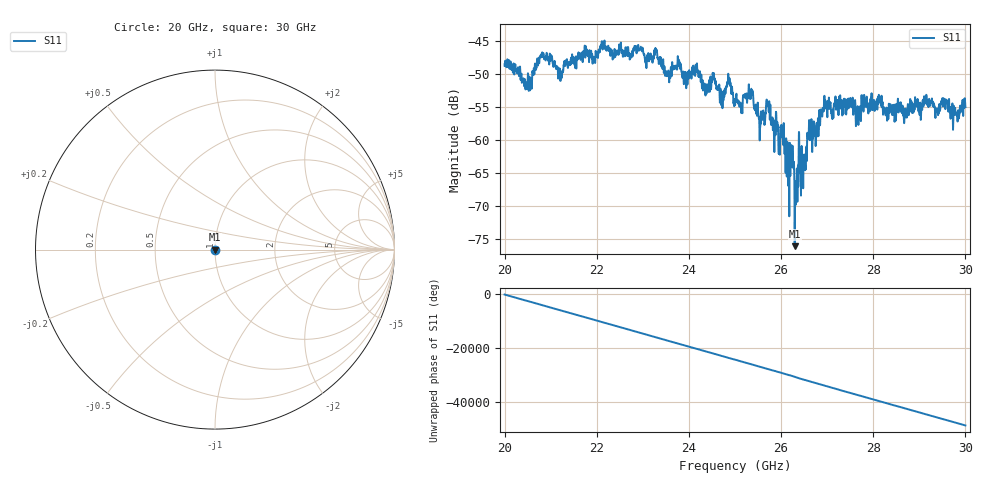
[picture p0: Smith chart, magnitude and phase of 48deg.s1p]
#  HZ  S  RI  R  50.00
! Rohde & Schwarz ZVA40 4Ports - Version 3.90 - 1145.1110k42 SN: 100403
! Date: 2023-10-03 11:57:43
! Measurement: S12
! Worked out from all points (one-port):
!   5001 points, 20 GHz to 30 GHz, reference 50 ohm
!   lowest |S11| = -76.1 dB at 26.3 GHz (marker M1), VSWR 1.00, Z = 50 - j0.0156 ohm
!   |S11| at or under -10 dB: start of sweep to end of sweep
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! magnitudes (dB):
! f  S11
! 20 GHz  -48.7
! 20.48 GHz  -52.0
! 20.81 GHz  -47.0
! 21.25 GHz  -49.9
! 22.12 GHz  -46.2
! 22.5 GHz  -45.7
! 23.29 GHz  -46.3
! 23.55 GHz  -49.6
! 23.75 GHz  -48.7
! 23.93 GHz  -49.8
! 24.19 GHz  -49.4
! 24.35 GHz  -52.1
! 24.54 GHz  -50.0
! 24.72 GHz  -52.8
! 24.86 GHz  -50.7
! 25 GHz  -54.6
! 25.34 GHz  -53.8
! 25.56 GHz  -57.5
! 25.72 GHz  -54.7
! 26.25 GHz  -61.3
! 26.3 GHz  -76.1
! 26.51 GHz  -62.6
! 26.61 GHz  -57.6
! 26.77 GHz  -57.7
! 26.95 GHz  -54.5
! 27.5 GHz  -53.7
! 28.75 GHz  -54.6
! 30 GHz  -55.0
